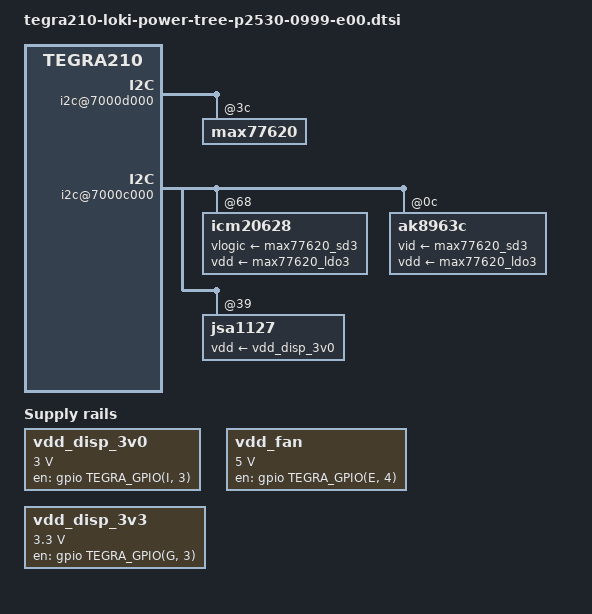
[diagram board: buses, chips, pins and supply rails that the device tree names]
/*
 * Copyright (c) 2014-2016, NVIDIA CORPORATION.  All rights reserved.
 *
 * This program is free software; you can redistribute it and/or modify
 * it under the terms of the GNU General Public License as published by
 * the Free Software Foundation; either version 2 of the License, or
 * (at your option) any later version.
 *
 * This program is distributed in the hope that it will be useful, but WITHOUT
 * ANY WARRANTY; without even the implied warranty of MERCHANTABILITY or
 * FITNESS FOR A PARTICULAR PURPOSE.  See the GNU General Public License for
 * more details.
 *
 * You should have received a copy of the GNU General Public License along
 * along with this program. If not, see <http://www.gnu.org/licenses/>.
 */

#include "tegra210-ers-pmic-e2174-1101-a00.dtsi"
#include "tegra210-ers-fixed-e2174-1101-a00.dtsi"
#include "tegra210-ers-power-dvfs-e2174-1101-a00.dtsi"

/ {

	i2c@7000d000 {
		max77620@3c {
			regulators {
				sd0 {
					regulator-enable-ramp-delay = <146>;
					regulator-disable-ramp-delay = <4080>;
					regulator-ramp-delay = <27500>;
					regulator-ramp-delay-scale = <300>;
				};

				sd1 {
					regulator-enable-ramp-delay = <130>;
					regulator-disable-ramp-delay = <145800>;
					regulator-ramp-delay = <27500>;
					regulator-ramp-delay-scale = <300>;
				};

				sd2 {
					maxim,active-fps-source = <MAX77620_FPS_SRC_1>;
					maxim,suspend-fps-source = <MAX77620_FPS_SRC_NONE>;
					regulator-enable-ramp-delay = <176>;
					regulator-disable-ramp-delay = <32000>;
					regulator-ramp-delay = <27500>;
					regulator-ramp-delay-scale = <350>;
				};

				sd3 {
					regulator-enable-ramp-delay = <242>;
					regulator-disable-ramp-delay = <118000>;
					regulator-ramp-delay = <27500>;
					regulator-ramp-delay-scale = <360>;
				};

				ldo0 {
					regulator-enable-ramp-delay = <26>;
					regulator-disable-ramp-delay = <626>;
					regulator-ramp-delay = <100000>;
					regulator-ramp-delay-scale = <200>;
				};

				ldo1 {
					regulator-enable-ramp-delay = <22>;
					regulator-disable-ramp-delay = <630>;
					regulator-ramp-delay = <100000>;
					regulator-ramp-delay-scale = <200>;
				};

				ldo2 {
					regulator-enable-ramp-delay = <62>;
					regulator-disable-ramp-delay = <650>;
					regulator-ramp-delay = <100000>;
					regulator-ramp-delay-scale = <200>;
				};

				ldo3 {
					regulator-enable-ramp-delay = <50>;
					regulator-disable-ramp-delay = <1110>;
					regulator-ramp-delay = <100000>;
					regulator-ramp-delay-scale = <200>;
				};

				ldo4 {
					regulator-enable-ramp-delay = <22>;
					regulator-disable-ramp-delay = <610>;
					regulator-ramp-delay = <100000>;
					regulator-ramp-delay-scale = <200>;
					regulator-disable-active-discharge;
				};

				ldo5 {
					regulator-enable-ramp-delay = <62>;
					regulator-disable-ramp-delay = <640>;
					regulator-ramp-delay = <100000>;
					regulator-ramp-delay-scale = <200>;
				};

				ldo6 {
					regulator-enable-ramp-delay = <36>;
					regulator-disable-ramp-delay = <674>;
					regulator-ramp-delay = <100000>;
					regulator-ramp-delay-scale = <200>;
				};

				ldo7 {
					maxim,active-fps-source = <MAX77620_FPS_SRC_1>;
					maxim,suspend-fps-source = <MAX77620_FPS_SRC_NONE>;
					regulator-enable-ramp-delay = <24>;
					regulator-disable-ramp-delay = <2768>;
					regulator-ramp-delay = <100000>;
					regulator-ramp-delay-scale = <200>;
				};

				ldo8 {
					regulator-enable-ramp-delay = <22>;
					regulator-disable-ramp-delay = <1160>;
					regulator-ramp-delay = <100000>;
					regulator-ramp-delay-scale = <200>;
				};
			};
		};
	};

	regulators {
		regulator@1 {
			regulator-enable-ramp-delay = <160>;
			regulator-disable-ramp-delay = <10000>;
		};

		regulator@2 {
			regulator-min-microvolt = <1200000>;
			regulator-max-microvolt = <1200000>;
			regulator-enable-ramp-delay = <240>;
			regulator-disable-ramp-delay = <11340>;
		};

		regulator@4 {
			regulator-enable-ramp-delay = <472>;
			regulator-disable-ramp-delay = <4880>;
		};

		regulator@6 {
			regulator-enable-ramp-delay = <3090>;
		};

		regulator@7 {
			regulator-enable-ramp-delay = <468>;
			regulator-disable-ramp-delay = <13000>;
		};

		vdd_disp_3v0: regulator@12 {
			compatible = "regulator-fixed-sync";
			reg = <12>;
			regulator-name = "vdd-disp-3v0";
			regulator-min-microvolt = <3000000>;
			regulator-max-microvolt = <3000000>;
			gpio = <&gpio TEGRA_GPIO(I, 3) 0>;
			regulator-boot-on;
			enable-active-high;
			regulator-enable-ramp-delay = <232>;
		};

		vdd_fan: regulator@13 {
			compatible = "regulator-fixed-sync";
			reg = <13>;
			regulator-name = "vdd-fan";
			regulator-min-microvolt = <5000000>;
			regulator-max-microvolt = <5000000>;
			gpio = <&gpio TEGRA_GPIO(E, 4) 0>;
			enable-active-high;
			regulator-enable-ramp-delay = <284>;
			regulator-disable-ramp-delay = <6200>;
		};

		vdd_disp_3v3: regulator@14 {
			compatible = "regulator-fixed-sync";
			reg = <14>;
			regulator-name = "vdd-disp-3v3";
			regulator-min-microvolt = <3300000>;
			regulator-max-microvolt = <3300000>;
			gpio = <&gpio TEGRA_GPIO(G, 3) 0>;
			regulator-boot-on;
			enable-active-high;
		};
	};

	i2c@7000c000 {
		icm20628@68 {
			vlogic-supply = <&max77620_sd3>;
			vdd-supply = <&max77620_ldo3>;
		};

		ak8963c@0c {
			vid-supply = <&max77620_sd3>;
			vdd-supply = <&max77620_ldo3>;
		};

		jsa1127@39 {
			vdd-supply = <&vdd_disp_3v0>;
		};

	};

	i2c@546c0000 {
		bus-pullup-supply = <&max77620_sd3>;
	};

	efuse@7000f800 {
		vpp_fuse-supply = <&max77620_sd3>;
	};

	host1x {
		/* tegradc.0 */
		dc@54200000 {
			avdd_dsi_csi-supply = <&max77620_gpio7>;
			avdd_lcd-supply = <&vdd_disp_3v0>;
			dvdd_lcd-supply = <&max77620_sd3>;
			vdd_lcd_bl_en-supply = <&lcd_bl_en>;
		};

		/* tegradc.1 */
		dc@54240000 {
			avdd_hdmi-supply = <&max77620_ldo8>;
			avdd_hdmi_pll-supply = <&max77620_sd3>;
			vdd_hdmi_5v0-supply = <&vdd_hdmi>;
		};

		vi {
			avdd_dsi_csi-supply = <&max77620_gpio7>;
		};
	};

	sound {
		ldoen-supply = <&vdd_sys_boost>;
		spkvdd-supply = <&vdd_sys_boost>;
		dbvdd-supply = <&vdd_sys_boost>;
		dmicvdd-supply = <&max77620_sd3>;
	};

	udc@7d000000 {
		avdd_usb-supply = <&vdd_3v3>;
		avdd_pll_utmip-supply = <&max77620_sd3>;
		usb_bat_chg-supply = <&battery_charger>;
	};

	ehci@7d000000 {
		avdd_usb-supply = <&vdd_3v3>;
		avdd_pll_utmip-supply = <&max77620_sd3>;
		usb_vbus-supply = <&usb0_vbus>;
	};

	usb_cd@7009f000 {
		usb_bat_chg-supply = <&battery_charger>;
	};

	xusb@70090000 {
		usb_vbus0-supply = <&usb0_vbus>;
		usb_vbus2-supply = <&battery_reg>;
		hvdd_usb-supply = <&vdd_3v3>;
		usb_vbus2-supply = <&battery_reg>;
		avdd_pll_utmip-supply = <&max77620_sd3>;
		vddio_hsic-supply = <&max77620_ldo0>;
		avddio_usb-supply = <&vdd_3v3>;
		dvdd_sata-supply = <&max77620_ldo8>;
		avddio_pll_uerefe-supply = <&max77620_ldo7>;
	};

	xudc@700d0000 {
		hvdd_usb-supply = <&vdd_3v3>;
		avdd_pll_utmip-supply = <&max77620_sd3>;
		avddio_usb-supply = <&vdd_3v3>;
		avddio_pll_uerefe-supply = <&max77620_ldo7>;
        };

	xotg {
		usb_vbus-supply = <&usb0_vbus>;
	};

	otg@7d000000 {
		usb_vbus-supply = <&usb0_vbus>;
		usb_bat_chg-supply = <&battery_charger>;
	};

	sdhci@700b0600 {
		vddio_sdmmc-supply = <&max77620_sd3>; /* SDMMC4 for EMMC on loki */
		vddio_sd_slot-supply = <&vdd_3v3>;
	};

	sdhci@700b0400 {
		vddio_sdmmc-supply = <&max77620_sd3>; /* SDMMC3 for 2nd Wifi on loki */
		vddio_sd_slot-supply = <&vdd_3v3>; /* SDMMC3 no stuff for full size SD on foster */
	};

	sdhci@700b0200 {
		vddio_sdmmc-supply = <&max77620_sd3>; /* SDMMC2 for Wifi on loki */
		vddio_sd_slot-supply = <&vdd_3v3>;
	};

	sdhci@700b0000 {
		vddio_sdmmc-supply = <&max77620_ldo2>; /* SDMMC1 for SD card on loki */
		vddio_sd_slot-supply = <&en_vdd_sd>;
	};

	bluedroid_pm {
		avdd-supply = <&battery_reg>;
		dvdd-supply = <&max77620_sd3>;
	};

	pwm-fan {
		vdd-fan-supply = <&vdd_fan>;
	};

	pmc-iopower {
		iopower-sys-supply = <&max77620_sd3>;
		iopower-uart-supply = <&max77620_sd3>;
		iopower-audio-supply = <&max77620_sd3>;
		iopower-cam-supply = <&max77620_sd3>;
		iopower-pex-ctrl-supply = <&max77620_sd3>;
		iopower-sdmmc1-supply = <&max77620_ldo2>;
		iopower-sdmmc3-supply = <&max77620_sd3>;
		iopower-sdmmc4-supply = <&max77620_sd3>;
		iopower-audio-hv-supply = <&max77620_sd3>;
		iopower-debug-supply = <&max77620_sd3>;
		iopower-dmic-supply = <&max77620_sd3>;
		iopower-gpio-supply = <&max77620_sd3>;
		iopower-spi-supply = <&max77620_sd3>;
		iopower-spi-hv-supply = <&max77620_sd3>;
		iopower-sdmmc2-supply = <&max77620_sd3>;
		iopower-dp-supply = <&max77620_sd3>;
	};
};
